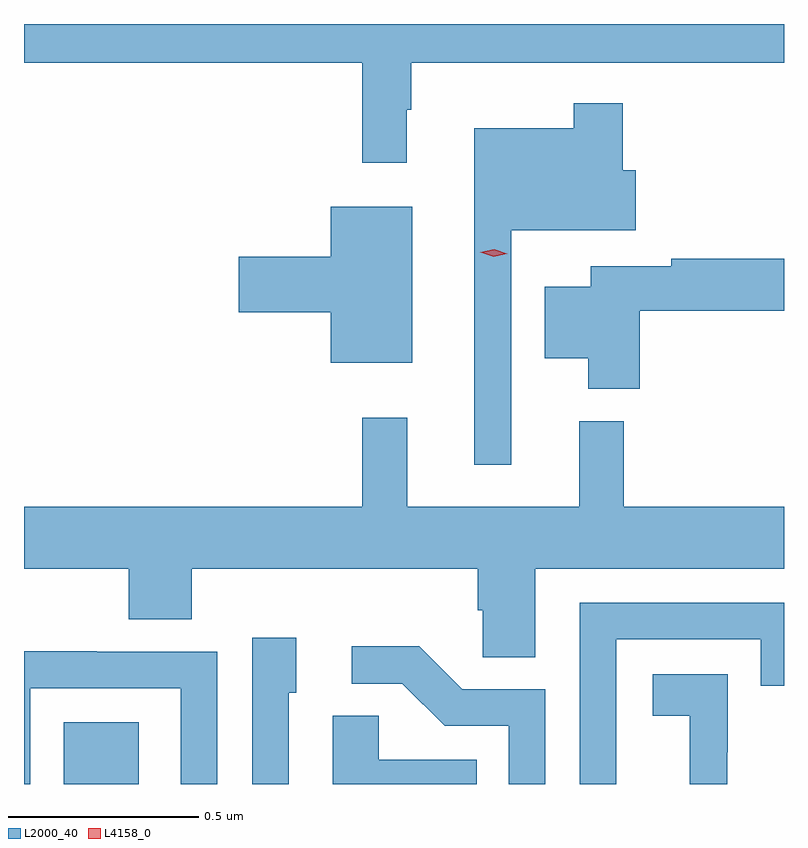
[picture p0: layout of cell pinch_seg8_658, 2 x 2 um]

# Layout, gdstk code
import gdstk
lib = gdstk.Library(unit=1e-6, precision=1e-09)
def R(c, l, rs):  # rectangles x0, y0, x1, y1
    for r in rs: c.add(gdstk.rectangle(r[:2], r[2:], *l))
def P(c, l, *ps):  # polygons
    for p in ps: c.add(gdstk.Polygon(p, *l))
L2000_40 = (2000, 40)
L4158_0 = (4158, 0)

pinch_seg8_658 = lib.new_cell('pinch_seg8_658')
R(pinch_seg8_658, L2000_40, [(327.602,1106.61,327.799,1106.773)])
P(pinch_seg8_658, L2000_40, [(328.504,1108.385),(328.516,1108.385),(328.516,1108.508),(329.497,1108.508),(329.497,1108.61),(327.497,1108.61),(327.497,1108.508),(328.387,1108.508),(328.387,1108.245),(328.504,1108.245)],
  [(328.779,1108.067),(329.107,1108.067),(329.107,1108.225),(329.072,1108.225),(329.072,1108.402),(328.944,1108.402),(328.944,1108.336),(328.682,1108.336),(328.682,1107.45),(328.779,1107.45)],
  [(328.519,1108.129),(328.304,1108.129),(328.304,1107.998),(328.062,1107.998),(328.062,1107.851),(328.304,1107.851),(328.304,1107.719),(328.519,1107.719)],
  [(329.117,1107.856),(329.497,1107.856),(329.497,1107.992),(329.2,1107.992),(329.2,1107.972),(328.988,1107.972),(328.988,1107.919),(328.868,1107.919),(328.868,1107.731),(328.982,1107.731),(328.982,1107.65),(329.117,1107.65)],
  [(328.843,1107.176),(329.497,1107.176),(329.497,1107.34),(329.075,1107.34),(329.075,1107.565),(328.958,1107.565),(328.958,1107.34),(328.505,1107.34),(328.505,1107.574),(328.387,1107.574),(328.387,1107.34),(327.497,1107.34),(327.497,1107.176),(327.773,1107.176),(327.773,1107.043),(327.938,1107.043),(327.938,1107.176),(328.691,1107.176),(328.691,1107.067),(328.704,1107.067),(328.704,1106.944),(328.843,1106.944)],
  [(329.055,1106.991),(329.436,1106.991),(329.436,1106.868),(329.497,1106.868),(329.497,1107.087),(328.959,1107.087),(328.959,1106.61),(329.055,1106.61)],
  [(328.194,1106.85),(328.213,1106.85),(328.213,1106.995),(328.098,1106.995),(328.098,1106.61),(328.194,1106.61)],
  [(328.869,1106.859),(328.65,1106.859),(328.537,1106.972),(328.359,1106.972),(328.359,1106.874),(328.493,1106.874),(328.604,1106.763),(328.773,1106.763),(328.773,1106.61),(328.869,1106.61)],
  [(327.513,1106.862),(327.909,1106.862),(327.909,1106.61),(328.005,1106.61),(328.005,1106.958),(327.689,1106.958),(327.689,1106.96),(327.497,1106.96),(327.497,1106.61),(327.513,1106.61)],
  [(329.348,1106.693),(329.349,1106.693),(329.349,1106.899),(329.151,1106.899),(329.151,1106.789),(329.249,1106.789),(329.249,1106.61),(329.348,1106.61)],
  [(328.688,1106.674),(328.431,1106.674),(328.431,1106.789),(328.31,1106.789),(328.31,1106.61),(328.688,1106.61)])
P(pinch_seg8_658, L4158_0, [(328.733,1107.997),(328.698,1108.009),(328.698,1108.009),(328.698,1108.009),(328.734,1108.017),(328.769,1108.006),(328.769,1108.006),(328.769,1108.005)])

lib.write_gds('pinch_seg8_658.gds')
